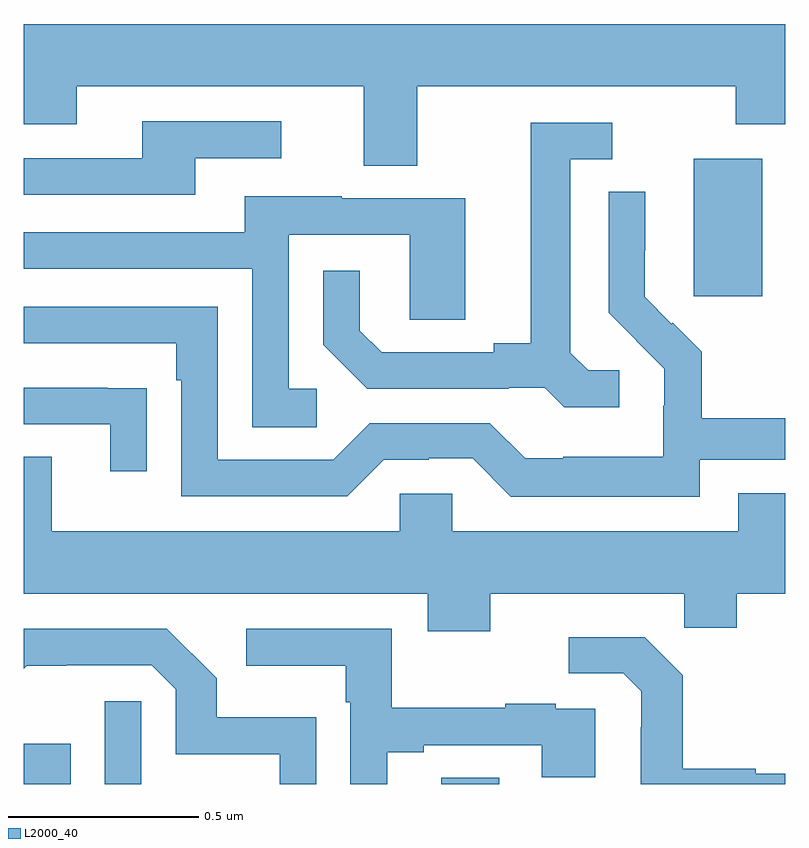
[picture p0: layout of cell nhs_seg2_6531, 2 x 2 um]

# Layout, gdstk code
import gdstk
lib = gdstk.Library(unit=1e-6, precision=1e-09)
def R(c, l, rs):  # rectangles x0, y0, x1, y1
    for r in rs: c.add(gdstk.rectangle(r[:2], r[2:], *l))
def P(c, l, *ps):  # polygons
    for p in ps: c.add(gdstk.Polygon(p, *l))
L2000_40 = (2000, 40)

nhs_seg2_6531 = lib.new_cell('nhs_seg2_6531')
R(nhs_seg2_6531, L2000_40, [(192,649.8,192.124,649.906), (192.213,649.8,192.309,650.017), (193.097,649.8,193.249,649.817), (193.76,651.081,193.939,651.442)])
P(nhs_seg2_6531, L2000_40, [(193.033,651.632),(193.87,651.632),(193.87,651.533),(194,651.533),(194,651.796),(192,651.796),(192,651.533),(192.139,651.533),(192.139,651.632),(192.893,651.632),(192.893,651.424),(193.033,651.424)],
  [(192.451,651.444),(192.676,651.444),(192.676,651.54),(192.311,651.54),(192.311,651.444),(192,651.444),(192,651.348),(192.451,651.348)],
  [(193.564,650.886),(193.482,650.886),(193.435,650.933),(193.435,651.441),(193.546,651.441),(193.546,651.537),(193.331,651.537),(193.331,650.957),(193.235,650.957),(193.235,650.934),(192.94,650.934),(192.883,650.991),(192.883,651.148),(192.786,651.148),(192.786,650.954),(192.902,650.838),(193.274,650.838),(193.274,650.841),(193.368,650.841),(193.42,650.789),(193.564,650.789)],
  [(193.776,650.652),(194,650.652),(194,650.761),(193.781,650.761),(193.781,650.935),(193.704,651.012),(193.701,651.009),(193.631,651.08),(193.631,651.202),(193.632,651.202),(193.632,651.356),(193.536,651.356),(193.536,651.038),(193.609,650.965),(193.608,650.964),(193.682,650.89),(193.682,650.793),(193.68,650.793),(193.68,650.659),(193.417,650.659),(193.417,650.655),(193.317,650.655),(193.224,650.748),(192.909,650.748),(192.813,650.652),(192.51,650.652),(192.51,651.054),(192,651.054),(192,650.958),(192.401,650.958),(192.401,650.861),(192.414,650.861),(192.414,650.556),(192.849,650.556),(192.945,650.652),(193.064,650.652),(193.064,650.655),(193.179,650.655),(193.279,650.555),(193.776,650.555)],
  [(192.769,650.838),(192.696,650.838),(192.696,651.243),(193.014,651.243),(193.014,651.019),(193.159,651.019),(193.159,651.339),(192.835,651.339),(192.835,651.343),(192.581,651.343),(192.581,651.249),(192,651.249),(192,651.153),(192.6,651.153),(192.6,650.737),(192.769,650.737)],
  [(192.323,650.84),(192.221,650.84),(192.221,650.841),(192,650.841),(192,650.745),(192.227,650.745),(192.227,650.622),(192.323,650.622)],
  [(193.225,650.3),(193.735,650.3),(193.735,650.21),(193.873,650.21),(193.873,650.3),(194,650.3),(194,650.563),(193.877,650.563),(193.877,650.464),(193.125,650.464),(193.125,650.562),(192.987,650.562),(192.987,650.464),(192.073,650.464),(192.073,650.659),(192,650.659),(192,650.3),(193.061,650.3),(193.061,650.201),(193.225,650.201)],
  [(192.768,649.975),(192.507,649.975),(192.507,650.078),(192.376,650.208),(192,650.208),(192,650.103),(192.008,650.111),(192.112,650.111),(192.112,650.112),(192.336,650.112),(192.399,650.049),(192.399,649.878),(192.672,649.878),(192.672,649.8),(192.768,649.8)],
  [(192.955,649.884),(193.051,649.884),(193.051,649.902),(193.361,649.902),(193.361,649.818),(193.501,649.818),(193.501,649.998),(193.397,649.998),(193.397,650.011),(193.265,650.011),(193.265,650),(192.967,650),(192.967,650.208),(192.585,650.208),(192.585,650.111),(192.846,650.111),(192.846,650.015),(192.858,650.015),(192.858,649.8),(192.955,649.8)],
  [(194,649.827),(193.923,649.827),(193.923,649.84),(193.731,649.84),(193.731,650.085),(193.631,650.185),(193.431,650.185),(193.431,650.091),(193.575,650.091),(193.622,650.044),(193.622,649.949),(193.62,649.949),(193.62,649.8),(194,649.8)])

lib.write_gds('nhs_seg2_6531.gds')
